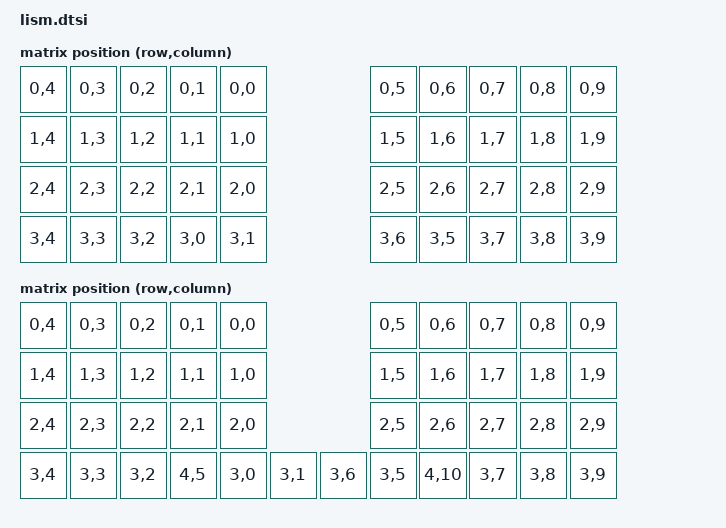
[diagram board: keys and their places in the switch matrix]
#include <dt-bindings/zmk/matrix_transform.h>

/ {
    chosen {
        zmk,physical-layout = &physical_42key_layout;
    };

    transform_40keymap: transform_40keymap {
        compatible = "zmk,matrix-transform";
        columns = <10>;
        rows = <4>; 
        map = <
            RC(0,4) RC(0,3) RC(0,2) RC(0,1) RC(0,0)                    RC(0,5) RC(0,6) RC(0,7) RC(0,8) RC(0,9)
            RC(1,4) RC(1,3) RC(1,2) RC(1,1) RC(1,0)                    RC(1,5) RC(1,6) RC(1,7) RC(1,8) RC(1,9)
            RC(2,4) RC(2,3) RC(2,2) RC(2,1) RC(2,0)                    RC(2,5) RC(2,6) RC(2,7) RC(2,8) RC(2,9)
            RC(3,4) RC(3,3) RC(3,2)         RC(3,0) RC(3,1)    RC(3,6) RC(3,5)         RC(3,7) RC(3,8) RC(3,9)
        >;
    };
    
    // 論理キー配列へ
    transform_42keymap: transform_42keymap {
        compatible = "zmk,matrix-transform";
        columns = <12>;
        rows = <5>; 
        map = <
            RC(0,4) RC(0,3) RC(0,2) RC(0,1) RC(0,0)                    RC(0,5) RC(0,6)  RC(0,7) RC(0,8) RC(0,9)
            RC(1,4) RC(1,3) RC(1,2) RC(1,1) RC(1,0)                    RC(1,5) RC(1,6)  RC(1,7) RC(1,8) RC(1,9)
            RC(2,4) RC(2,3) RC(2,2) RC(2,1) RC(2,0)                    RC(2,5) RC(2,6)  RC(2,7) RC(2,8) RC(2,9)
            RC(3,4) RC(3,3) RC(3,2) RC(4,5) RC(3,0) RC(3,1)    RC(3,6) RC(3,5) RC(4,10) RC(3,7) RC(3,8) RC(3,9)
        >;
    };


        /* 充電ステータス */
    chg_stat: chg_stat {
        compatible = "custom,chg-stat";
        gpios = <&gpio0 17 GPIO_ACTIVE_LOW>; /* Low=充電中 */
        status = "okay";
    };
};

&vbatt {
    output-ohms = <503000>;
    full-ohms = <(1000000 + 503000)>;
};
